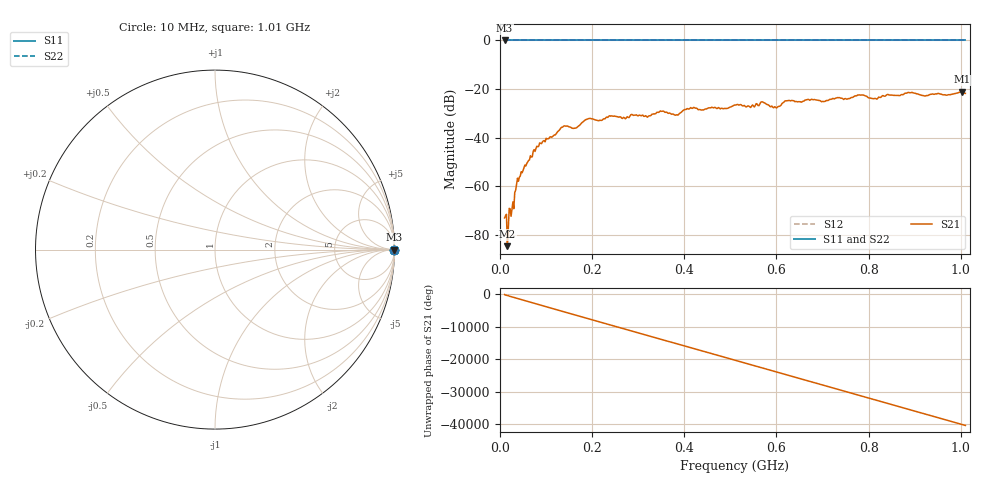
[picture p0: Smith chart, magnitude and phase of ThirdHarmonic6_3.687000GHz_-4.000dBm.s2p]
! 8/17/2025 12:29:51 PM
! C:\ANRITSUVNA\TEMP\TEMP.S2P
! CHANNEL.1
! TR.MEASUREMENT
! RAW.DATA
! RF.CORRECTION.OFF
! AVERAGING.OFF
! IF.BANDWIDTH: 5KHZ
! SWEEPTYPE:  FREQ.SWEEP(Linear)
! Reference Plane Port Info
! PORT:  PORT1  PORT2
! DISTANCE:  0  m  0  m
! TIME:  0  s  0  s
! PHASE.OFFSET:  0  deg.  0  deg.
! LOSS:  0  dB  0  dB
! REF.LOSS:  0  dB  0  dB
! REF.FREQ:  0  Hz  0  Hz
! Power Info
! POWER:  -20  dBm  -20  dBm
! EFF.POWER:  -20  dBm  -20  dBm
! SOURCE.ATTEN:  0  dB  0  dB
! TEST.ATTEN:  0  dB  0  dB
# GHZ S RI R 50.0
! FREQ.GHZ  S11RE  S11IM  S21RE  S21IM  S12RE  S12IM  S22RE  S22IM
!; PortSelection: Port_12
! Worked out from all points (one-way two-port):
!   501 points, 10 MHz to 1.01 GHz, reference 50 ohm
!   highest |S21| = -21.13 dB at 1.002 GHz (marker M1); lowest = -84.7 dB at 16 MHz (marker M2)
!   lowest |S11| = 0.0 dB at 10 MHz (marker M3)
!   |S11| at or under -10 dB: nowhere
!   |S22| runs from 0.0 to 0.0 dB; largest |S21 - S12| = 1.1
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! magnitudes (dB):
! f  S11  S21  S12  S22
! 10 MHz  0.0  -73.0  0.0  0.0
! 16 MHz  0.0  -84.7  0.0  0.0
! 20 MHz  0.0  -69.1  0.0  0.0
! 24 MHz  0.0  -72.4  0.0  0.0
! 28 MHz  0.0  -66.4  0.0  0.0
! 36 MHz  0.0  -59.0  0.0  0.0
! 42 MHz  0.0  -56.3  0.0  0.0
! 76 MHz  0.0  -45.7  0.0  0.0
! 136 MHz  0.0  -35.7  0.0  0.0
! 162 MHz  0.0  -36.1  0.0  0.0
! 178 MHz  0.0  -33.8  0.0  0.0
! 344 MHz  0.0  -29.6  0.0  0.0
! 382 MHz  0.0  -30.7  0.0  0.0
! 418 MHz  0.0  -27.9  0.0  0.0
! 510 MHz  0.0  -26.6  0.0  0.0
! 570 MHz  0.0  -25.3  0.0  0.0
! 598 MHz  0.0  -27.5  0.0  0.0
! 622 MHz  0.0  -24.8  0.0  0.0
! 678 MHz  0.0  -24.3  0.0  0.0
! 844 MHz  0.0  -22.4  0.0  0.0
! 1.002 GHz  0.0  -21.1  0.0  0.0
! 1.01 GHz  0.0  -21.8  0.0  0.0
